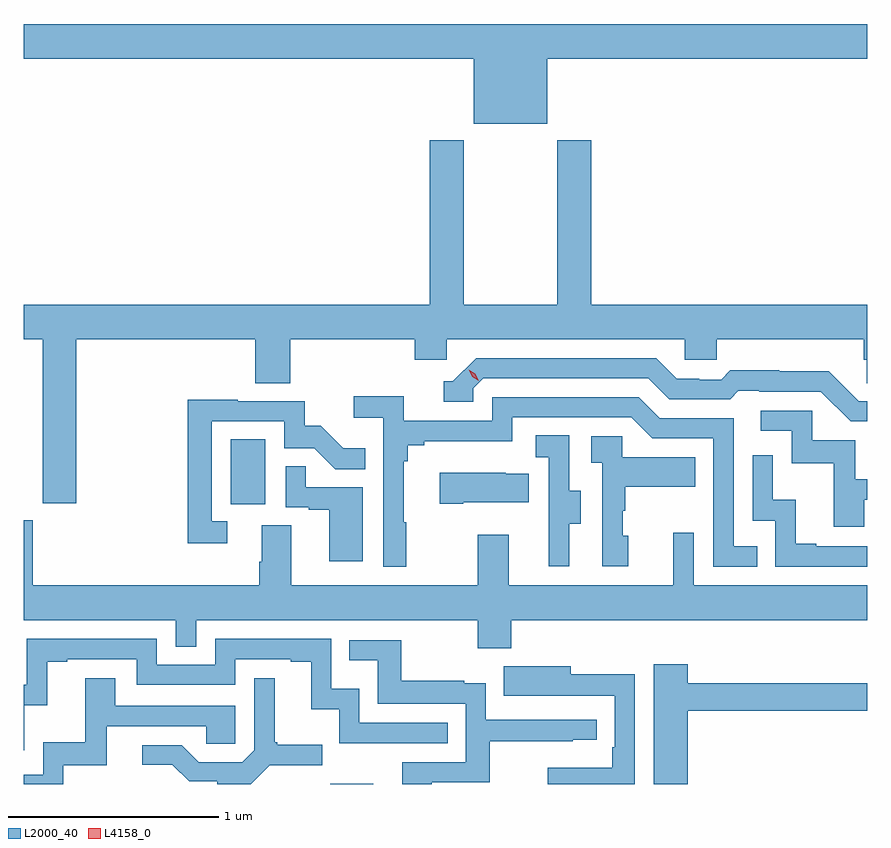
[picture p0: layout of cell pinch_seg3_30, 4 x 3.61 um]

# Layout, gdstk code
import gdstk
lib = gdstk.Library(unit=1e-6, precision=1e-09)
def R(c, l, rs):  # rectangles x0, y0, x1, y1
    for r in rs: c.add(gdstk.rectangle(r[:2], r[2:], *l))
def P(c, l, *ps):  # polygons
    for p in ps: c.add(gdstk.Polygon(p, *l))
L2000_40 = (2000, 40)
L4158_0 = (4158, 0)

pinch_seg3_30 = lib.new_cell('pinch_seg3_30')
R(pinch_seg3_30, L2000_40, [(1090.866,744.094,1091.071,744.095), (1090.394,745.422,1090.558,745.729)])
P(pinch_seg3_30, L2000_40, [(1091.896,747.536),(1093.413,747.536),(1093.413,747.7),(1089.413,747.7),(1089.413,747.536),(1091.546,747.536),(1091.546,747.227),(1091.896,747.227)],
  [(1089.662,746.204),(1090.511,746.204),(1090.511,745.996),(1090.676,745.996),(1090.676,746.204),(1091.267,746.204),(1091.267,746.106),(1091.418,746.106),(1091.418,746.204),(1092.549,746.204),(1092.549,746.106),(1092.699,746.106),(1092.699,746.204),(1093.397,746.204),(1093.397,746.106),(1093.411,746.106),(1093.411,745.996),(1093.413,745.996),(1093.413,746.368),(1092.104,746.368),(1092.104,747.148),(1091.944,747.148),(1091.944,746.368),(1091.499,746.368),(1091.499,747.148),(1091.339,747.148),(1091.339,746.368),(1089.413,746.368),(1089.413,746.204),(1089.502,746.204),(1089.502,745.425),(1089.662,745.425)],
  [(1093.413,745.911),(1093.374,745.911),(1093.232,746.053),(1092.996,746.053),(1092.996,746.056),(1092.763,746.056),(1092.721,746.013),(1092.618,746.013),(1092.618,746.016),(1092.511,746.016),(1092.412,746.115),(1091.559,746.115),(1091.448,746.004),(1091.405,746.004),(1091.405,745.908),(1091.544,745.908),(1091.544,745.971),(1091.592,746.019),(1092.375,746.019),(1092.474,745.92),(1092.763,745.92),(1092.802,745.959),(1092.901,745.959),(1092.901,745.956),(1093.194,745.956),(1093.335,745.815),(1093.413,745.815)],
  [(1091.227,745.337),(1091.215,745.337),(1091.215,745.625),(1091.234,745.625),(1091.234,745.702),(1091.311,745.702),(1091.311,745.721),(1091.73,745.721),(1091.73,745.833),(1092.294,745.833),(1092.393,745.734),(1092.684,745.734),(1092.684,745.125),(1092.893,745.125),(1092.893,745.221),(1092.78,745.221),(1092.78,745.83),(1092.43,745.83),(1092.331,745.929),(1091.634,745.929),(1091.634,745.818),(1091.216,745.818),(1091.216,745.934),(1090.977,745.934),(1090.977,745.832),(1091.118,745.832),(1091.118,745.125),(1091.227,745.125)],
  [(1090.378,745.341),(1090.305,745.341),(1090.305,745.815),(1090.647,745.815),(1090.647,745.686),(1090.791,745.686),(1090.889,745.588),(1091.033,745.588),(1091.033,745.687),(1090.929,745.687),(1090.822,745.794),(1090.746,745.794),(1090.746,745.911),(1090.427,745.911),(1090.427,745.916),(1090.189,745.916),(1090.189,745.236),(1090.378,745.236)],
  [(1093.399,745.443),(1093.413,745.443),(1093.413,745.539),(1093.357,745.539),(1093.357,745.725),(1093.152,745.725),(1093.152,745.866),(1092.909,745.866),(1092.909,745.77),(1093.056,745.77),(1093.056,745.617),(1093.255,745.617),(1093.255,745.314),(1093.399,745.314)],
  [(1092.001,745.33),(1092.055,745.33),(1092.055,745.485),(1092,745.485),(1092,745.748),(1091.841,745.748),(1091.841,745.645),(1091.904,745.645),(1091.904,745.341),(1091.903,745.341),(1091.903,745.128),(1092.001,745.128)],
  [(1092.28,745.272),(1092.255,745.272),(1092.255,745.391),(1092.265,745.391),(1092.265,745.505),(1092.599,745.505),(1092.599,745.645),(1092.252,745.645),(1092.252,745.743),(1092.105,745.743),(1092.105,745.619),(1092.156,745.619),(1092.156,745.128),(1092.28,745.128)],
  [(1093.413,745.221),(1093.171,745.221),(1093.171,745.234),(1093.076,745.234),(1093.076,745.442),(1092.966,745.442),(1092.966,745.654),(1092.87,745.654),(1092.87,745.344),(1092.978,745.344),(1092.978,745.125),(1093.413,745.125)],
  [(1091.02,745.503),(1090.751,745.503),(1090.751,745.601),(1090.656,745.601),(1090.656,745.407),(1090.763,745.407),(1090.763,745.395),(1090.862,745.395),(1090.862,745.152),(1091.02,745.152)],
  [(1091.497,745.43),(1091.807,745.43),(1091.807,745.567),(1091.699,745.567),(1091.699,745.57),(1091.385,745.57),(1091.385,745.423),(1091.497,745.423)],
  [(1091.726,744.872),(1093.413,744.872),(1093.413,745.036),(1092.591,745.036),(1092.591,745.285),(1092.494,745.285),(1092.494,745.036),(1091.713,745.036),(1091.713,745.276),(1091.566,745.276),(1091.566,745.036),(1090.681,745.036),(1090.681,745.322),(1090.541,745.322),(1090.541,745.148),(1090.529,745.148),(1090.529,745.036),(1089.454,745.036),(1089.454,745.345),(1089.413,745.345),(1089.413,744.872),(1090.134,744.872),(1090.134,744.745),(1090.23,744.745),(1090.23,744.872),(1091.566,744.872),(1091.566,744.737),(1091.726,744.737)],
  [(1089.414,744.467),(1089.524,744.467),(1089.524,744.675),(1089.619,744.675),(1089.619,744.687),(1089.948,744.687),(1089.948,744.564),(1090.416,744.564),(1090.416,744.687),(1090.679,744.687),(1090.679,744.675),(1090.775,744.675),(1090.775,744.449),(1090.908,744.449),(1090.908,744.288),(1091.423,744.288),(1091.423,744.384),(1091.004,744.384),(1091.004,744.547),(1090.872,744.547),(1090.872,744.783),(1090.32,744.783),(1090.32,744.66),(1090.044,744.66),(1090.044,744.783),(1089.426,744.783),(1089.426,744.564),(1089.413,744.564),(1089.413,744.255),(1089.414,744.255)],
  [(1091.347,744.102),(1091.624,744.102),(1091.624,744.298),(1092.017,744.298),(1092.017,744.303),(1092.13,744.303),(1092.13,744.399),(1091.604,744.399),(1091.604,744.571),(1091.501,744.571),(1091.501,744.583),(1091.203,744.583),(1091.203,744.777),(1090.957,744.777),(1090.957,744.68),(1091.092,744.68),(1091.092,744.474),(1091.508,744.474),(1091.508,744.198),(1091.207,744.198),(1091.207,744.094),(1091.347,744.094)],
  [(1092.562,744.442),(1093.413,744.442),(1093.413,744.571),(1092.562,744.571),(1092.562,744.661),(1092.401,744.661),(1092.401,744.094),(1092.562,744.094)],
  [(1092.312,744.614),(1092.007,744.614),(1092.007,744.652),(1091.689,744.652),(1091.689,744.512),(1091.903,744.512),(1091.903,744.513),(1092.216,744.513),(1092.216,744.268),(1092.203,744.268),(1092.203,744.172),(1091.898,744.172),(1091.898,744.094),(1092.312,744.094)],
  [(1089.6,744.183),(1089.805,744.183),(1089.805,744.369),(1090.279,744.369),(1090.279,744.285),(1090.416,744.285),(1090.416,744.465),(1089.847,744.465),(1089.847,744.595),(1089.703,744.595),(1089.703,744.292),(1089.504,744.292),(1089.504,744.138),(1089.413,744.138),(1089.413,744.094),(1089.6,744.094)],
  [(1090.578,744.183),(1090.828,744.183),(1090.828,744.28),(1090.615,744.28),(1090.615,744.292),(1090.603,744.292),(1090.603,744.595),(1090.506,744.595),(1090.506,744.255),(1090.449,744.198),(1090.243,744.198),(1090.162,744.279),(1089.975,744.279),(1089.975,744.186),(1090.116,744.186),(1090.196,744.106),(1090.331,744.106),(1090.331,744.094),(1090.489,744.094)])
P(pinch_seg3_30, L4158_0, [(1091.57,746.007),(1091.54,746.027),(1091.524,746.059),(1091.524,746.06),(1091.524,746.06),(1091.554,746.04),(1091.57,746.008),(1091.57,746.007)])

lib.write_gds('pinch_seg3_30.gds')
